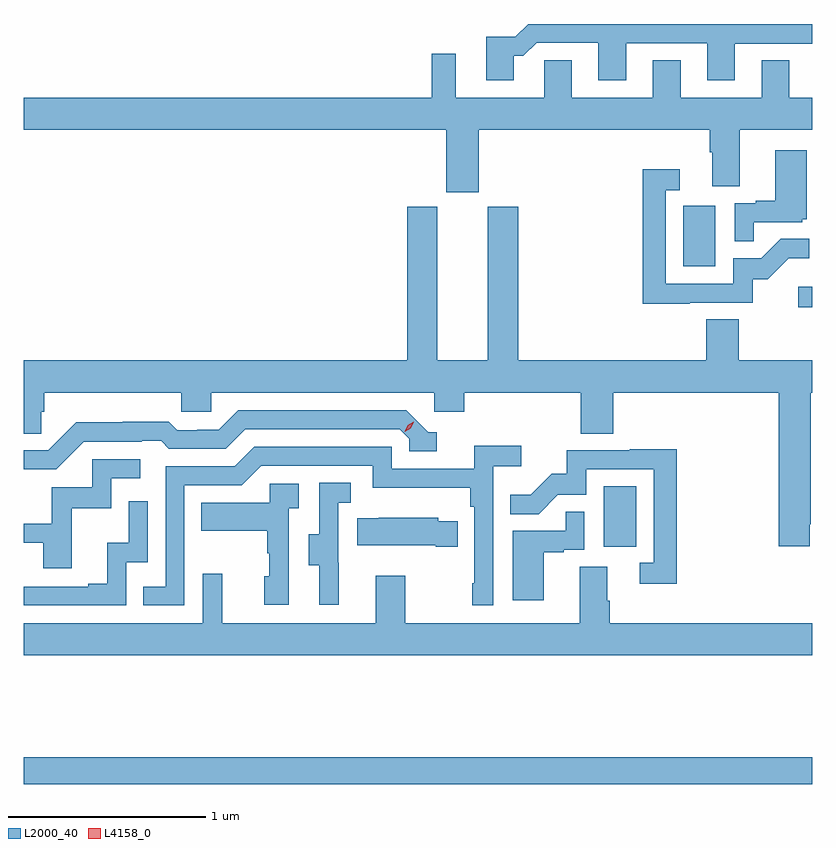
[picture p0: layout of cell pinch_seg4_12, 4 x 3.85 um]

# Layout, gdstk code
import gdstk
lib = gdstk.Library(unit=1e-6, precision=1e-09)
def R(c, l, rs):  # rectangles x0, y0, x1, y1
    for r in rs: c.add(gdstk.rectangle(r[:2], r[2:], *l))
def P(c, l, *ps):  # polygons
    for p in ps: c.add(gdstk.Polygon(p, *l))
L2000_40 = (2000, 40)
L4158_0 = (4158, 0)

pinch_seg4_12 = lib.new_cell('pinch_seg4_12')
R(pinch_seg4_12, L2000_40, [(1081.056,821.476,1085.056,821.612), (1083.998,822.678,1084.162,822.985), (1084.983,823.894,1085.056,823.996), (1084.4,824.1,1084.564,824.407)])
P(pinch_seg4_12, L2000_40, [(1083.541,825.167),(1083.59,825.167),(1083.657,825.234),(1083.971,825.234),(1083.971,825.045),(1084.111,825.045),(1084.111,825.231),(1084.523,825.231),(1084.523,825.045),(1084.663,825.045),(1084.663,825.23),(1085.056,825.23),(1085.056,825.329),(1083.614,825.329),(1083.55,825.265),(1083.401,825.265),(1083.401,825.045),(1083.541,825.045)],
  [(1083.364,824.792),(1084.535,824.792),(1084.535,824.68),(1084.547,824.68),(1084.547,824.506),(1084.687,824.506),(1084.687,824.792),(1085.056,824.792),(1085.056,824.956),(1084.939,824.956),(1084.939,825.145),(1084.799,825.145),(1084.799,824.956),(1084.387,824.956),(1084.387,825.146),(1084.247,825.146),(1084.247,824.956),(1083.835,824.956),(1083.835,825.146),(1083.696,825.146),(1083.696,824.956),(1083.247,824.956),(1083.247,825.178),(1083.126,825.178),(1083.126,824.956),(1081.056,824.956),(1081.056,824.792),(1083.2,824.792),(1083.2,824.475),(1083.364,824.475)],
  [(1084.757,824.325),(1085.004,824.325),(1085.004,824.34),(1085.026,824.34),(1085.026,824.689),(1084.868,824.689),(1084.868,824.434),(1084.769,824.434),(1084.769,824.421),(1084.662,824.421),(1084.662,824.227),(1084.757,824.227)],
  [(1084.433,823.917),(1084.752,823.917),(1084.752,824.034),(1084.828,824.034),(1084.935,824.141),(1085.039,824.141),(1085.039,824.24),(1084.895,824.24),(1084.797,824.142),(1084.653,824.142),(1084.653,824.013),(1084.311,824.013),(1084.311,824.487),(1084.384,824.487),(1084.384,824.593),(1084.195,824.593),(1084.195,823.912),(1084.433,823.912)],
  [(1085.041,822.793),(1085.046,822.793),(1085.046,823.46),(1085.056,823.46),(1085.056,823.624),(1084.682,823.624),(1084.682,823.832),(1084.517,823.832),(1084.517,823.624),(1083.563,823.624),(1083.563,824.403),(1083.41,824.403),(1083.41,823.624),(1083.154,823.624),(1083.154,824.403),(1083.002,824.403),(1083.002,823.624),(1081.056,823.624),(1081.056,823.252),(1081.145,823.252),(1081.145,823.362),(1081.16,823.362),(1081.16,823.46),(1081.857,823.46),(1081.857,823.362),(1082.007,823.362),(1082.007,823.46),(1083.138,823.46),(1083.138,823.362),(1083.29,823.362),(1083.29,823.46),(1083.881,823.46),(1083.881,823.252),(1084.046,823.252),(1084.046,823.46),(1084.886,823.46),(1084.886,822.681),(1085.041,822.681)],
  [(1081.362,823.212),(1081.655,823.212),(1081.655,823.215),(1081.754,823.215),(1081.793,823.176),(1082.082,823.176),(1082.181,823.275),(1082.964,823.275),(1083.012,823.227),(1083.012,823.164),(1083.151,823.164),(1083.151,823.26),(1083.108,823.26),(1082.997,823.371),(1082.144,823.371),(1082.045,823.272),(1081.938,823.272),(1081.938,823.269),(1081.835,823.269),(1081.793,823.312),(1081.56,823.312),(1081.56,823.309),(1081.324,823.309),(1081.182,823.167),(1081.056,823.167),(1081.056,823.071),(1081.221,823.071)],
  [(1081.872,822.99),(1082.163,822.99),(1082.262,823.089),(1082.826,823.089),(1082.826,822.977),(1083.322,822.977),(1083.322,822.881),(1083.342,822.881),(1083.342,822.493),(1083.33,822.493),(1083.33,822.381),(1083.438,822.381),(1083.438,823.088),(1083.58,823.088),(1083.58,823.19),(1083.341,823.19),(1083.341,823.074),(1082.922,823.074),(1082.922,823.185),(1082.225,823.185),(1082.126,823.086),(1081.776,823.086),(1081.776,822.477),(1081.663,822.477),(1081.663,822.381),(1081.872,822.381)],
  [(1084.367,823.172),(1084.129,823.172),(1084.129,823.167),(1083.811,823.167),(1083.811,823.05),(1083.734,823.05),(1083.627,822.943),(1083.523,822.943),(1083.523,822.844),(1083.667,822.844),(1083.765,822.942),(1083.909,822.942),(1083.909,823.071),(1084.251,823.071),(1084.251,822.597),(1084.179,822.597),(1084.179,822.492),(1084.367,822.492)],
  [(1081.301,822.873),(1081.5,822.873),(1081.5,823.026),(1081.648,823.026),(1081.648,823.122),(1081.404,823.122),(1081.404,822.981),(1081.199,822.981),(1081.199,822.795),(1081.056,822.795),(1081.056,822.699),(1081.157,822.699),(1081.157,822.57),(1081.301,822.57)],
  [(1082.654,822.597),(1082.652,822.597),(1082.652,822.901),(1082.716,822.901),(1082.716,823.004),(1082.556,823.004),(1082.556,822.741),(1082.501,822.741),(1082.501,822.586),(1082.555,822.586),(1082.555,822.384),(1082.654,822.384)],
  [(1082.4,822.875),(1082.452,822.875),(1082.452,822.999),(1082.304,822.999),(1082.304,822.901),(1081.957,822.901),(1081.957,822.761),(1082.292,822.761),(1082.292,822.647),(1082.302,822.647),(1082.302,822.528),(1082.276,822.528),(1082.276,822.384),(1082.4,822.384)],
  [(1081.578,822.6),(1081.686,822.6),(1081.686,822.91),(1081.59,822.91),(1081.59,822.698),(1081.481,822.698),(1081.481,822.49),(1081.385,822.49),(1081.385,822.477),(1081.056,822.477),(1081.056,822.381),(1081.578,822.381)],
  [(1083.694,822.651),(1083.794,822.651),(1083.794,822.663),(1083.9,822.663),(1083.9,822.857),(1083.805,822.857),(1083.805,822.759),(1083.536,822.759),(1083.536,822.408),(1083.694,822.408)],
  [(1083.257,822.808),(1083.159,822.808),(1083.159,822.826),(1082.857,822.826),(1082.857,822.823),(1082.749,822.823),(1082.749,822.686),(1083.146,822.686),(1083.146,822.679),(1083.257,822.679)],
  [(1085.056,822.292),(1084.028,822.292),(1084.028,822.404),(1084.015,822.404),(1084.015,822.578),(1083.875,822.578),(1083.875,822.292),(1082.991,822.292),(1082.991,822.532),(1082.843,822.532),(1082.843,822.292),(1082.063,822.292),(1082.063,822.541),(1081.965,822.541),(1081.965,822.292),(1081.056,822.292),(1081.056,822.128),(1085.056,822.128)])
P(pinch_seg4_12, L4158_0, [(1082.988,823.261),(1082.988,823.262),(1083.004,823.294),(1083.035,823.313),(1083.035,823.313),(1083.035,823.312),(1083.019,823.28),(1082.988,823.261)])

lib.write_gds('pinch_seg4_12.gds')
